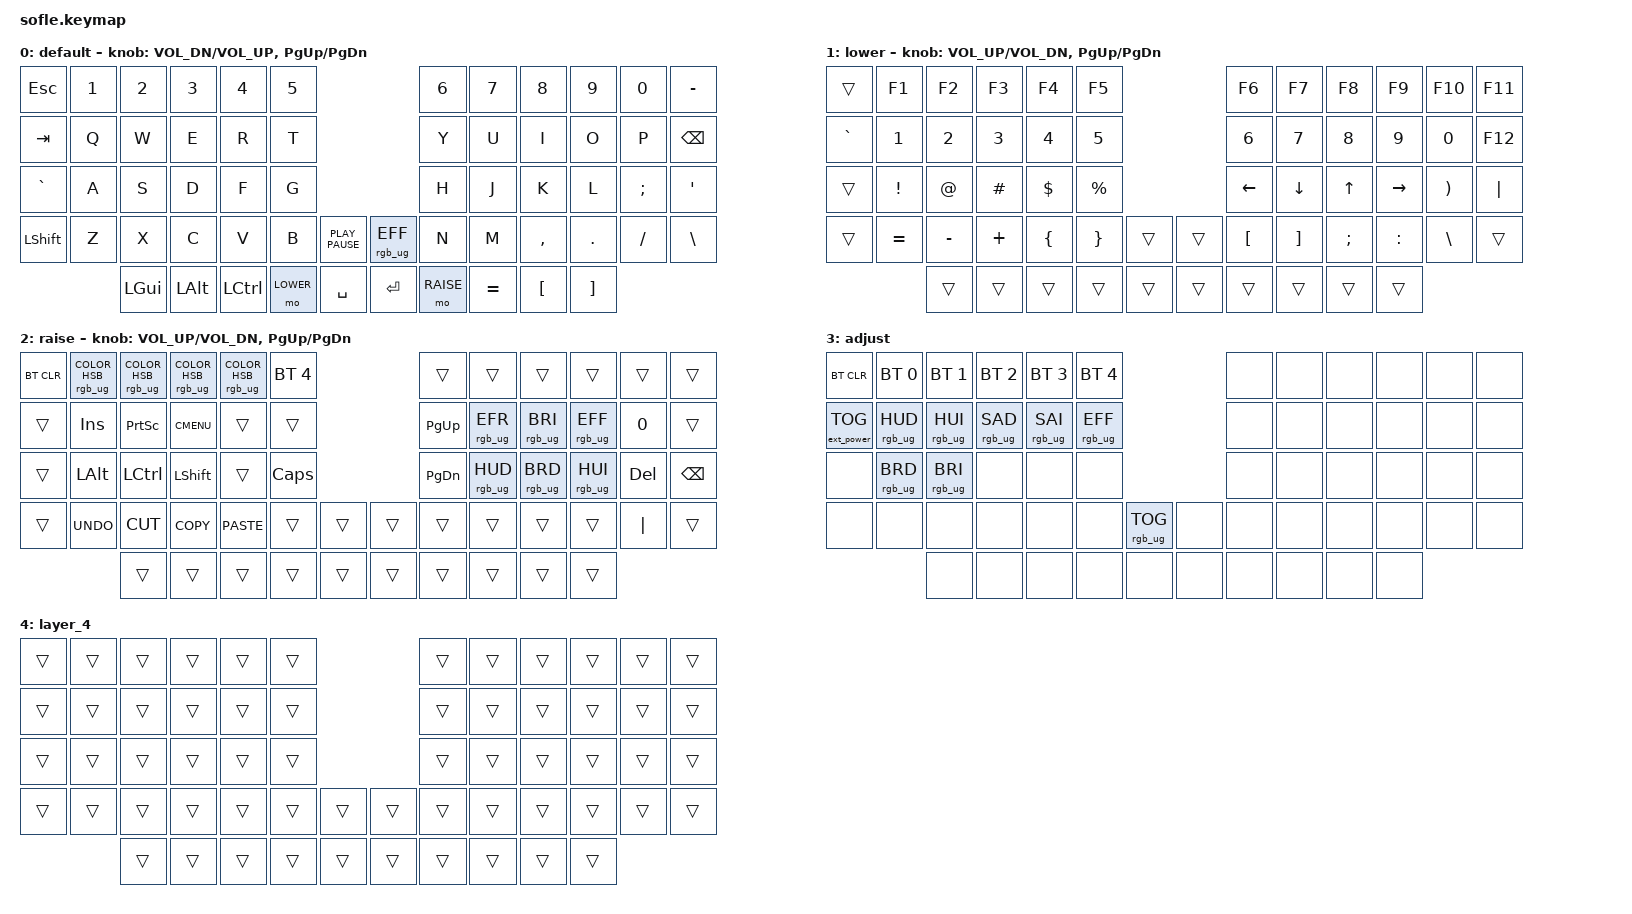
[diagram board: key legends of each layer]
/*
 * Copyright (c) 2020 The ZMK Contributors
 *
 * SPDX-License-Identifier: MIT
 */

#include <behaviors.dtsi>
#include <dt-bindings/zmk/bt.h>
#include <dt-bindings/zmk/ext_power.h>
#include <dt-bindings/zmk/keys.h>
#include <dt-bindings/zmk/rgb.h>

#define BASE 0
#define LOWER 1
#define RAISE 2
#define ADJUST 3

&led_strip { chain-length = <29>; };

/ {
    // Activate ADJUST layer by pressing raise and lower

    conditional_layers {
        compatible = "zmk,conditional-layers";

        adjust_layer {
            if-layers = <LOWER RAISE>;
            then-layer = <ADJUST>;
        };
    };

    keymap {
        compatible = "zmk,keymap";

        default_layer {
            display-name = "default";

            // ------------------------------------------------------------------------------------------------------------
            // |   `   |  1  |  2  |  3   |  4   |  5   |                   |  6   |  7    |  8    |  9   |   0   |       |
            // |  ESC  |  Q  |  W  |  E   |  R   |  T   |                   |  Y   |  U    |  I    |  O   |   P   | BKSPC |
            // |  TAB  |  A  |  S  |  D   |  F   |  G   |                   |  H   |  J    |  K    |  L   |   ;   |   '   |
            // | SHIFT |  Z  |  X  |  C   |  V   |  B   |  MUTE  |  |       |  N   |  M    |  ,    |  .   |   /   | SHIFT |
            //               | GUI | ALT  | CTRL | LOWER|  ENTER |  | SPACE | RAISE| CTRL  | ALT   | GUI  |

            bindings = <
&kp ESC    &kp N1  &kp N2    &kp N3    &kp N4     &kp N5                                          &kp N6     &kp N7     &kp N8            &kp N9             &kp N0    &kp MINUS
&kp TAB    &kp Q   &kp W     &kp E     &kp R      &kp T                                           &kp Y      &kp U      &kp I             &kp O              &kp P     &kp BSPC
&kp GRAVE  &kp A   &kp S     &kp D     &kp F      &kp G                                           &kp H      &kp J      &kp K             &kp L              &kp SEMI  &kp SQT
&kp LSHFT  &kp Z   &kp X     &kp C     &kp V      &kp B      &kp K_PLAY_PAUSE    &rgb_ug RGB_EFF  &kp N      &kp M      &kp COMMA         &kp DOT            &kp FSLH  &kp BSLH
                   &kp LGUI  &kp LALT  &kp LCTRL  &mo LOWER  &kp SPACE           &kp RET          &mo RAISE  &kp EQUAL  &kp LEFT_BRACKET  &kp RIGHT_BRACKET
            >;

            sensor-bindings =
                <&inc_dec_kp C_VOL_DN C_VOL_UP>,
                <&inc_dec_kp PG_UP PG_DN>;
        };

        lower_layer {
            display-name = "lower";

            // TODO: Some binds are waiting for shifted keycode support.
            // ------------------------------------------------------------------------------------------------------------
            // |       |  F1 |  F2 |  F3  |  F4  |  F5  |                   |  F6  |  F7   |  F8   |  F9  |  F10  |  F11  |
            // |   `   |  1  |  2  |  3   |  4   |  5   |                   |  6   |  7    |  8    |  9   |   0   |  F12  |
            // |       |  !  |  @  |  #   |  $   |  %   |                   |  ^   |  &    |  *    |  (   |   )   |   |   |
            // |       |  =  |  -  |  +   |  {   |  }   |        |  |       |  [   |  ]    |  ;    |  :   |   \   |       |
            //               |     |      |      |      |        |  |       |      |       |       |      |

            bindings = <
&trans     &kp F1     &kp F2     &kp F3    &kp F4    &kp F5                       &kp F6    &kp F7    &kp F8        &kp F9     &kp F10   &kp F11
&kp GRAVE  &kp N1     &kp N2     &kp N3    &kp N4    &kp N5                       &kp N6    &kp N7    &kp N8        &kp N9     &kp N0    &kp F12
&trans     &kp EXCL   &kp AT     &kp HASH  &kp DLLR  &kp PRCNT                    &kp LEFT  &kp DOWN  &kp UP_ARROW  &kp RIGHT  &kp RPAR  &kp PIPE
&trans     &kp EQUAL  &kp MINUS  &kp PLUS  &kp LBRC  &kp RBRC   &trans    &trans  &kp LBKT  &kp RBKT  &kp SEMI      &kp COLON  &kp BSLH  &trans
                      &trans     &trans    &trans    &trans     &trans    &trans  &trans    &trans    &trans        &trans
            >;

            sensor-bindings = <&inc_dec_kp C_VOL_UP C_VOL_DN &inc_dec_kp PG_UP PG_DN>;
        };

        raise_layer {
            display-name = "raise";

            // ------------------------------------------------------------------------------------------------------------
            // | BTCLR | BT1  | BT2  |  BT3  |  BT4  |  BT5 |                |      |      |       |      |       |       |
            // |       | INS  | PSCR | GUI   |       |      |                | PGUP |      |   ^   |      |       |       |
            // |       | ALT  | CTRL | SHIFT |       | CAPS |                | PGDN |   <- |   v   |  ->  |  DEL  | BKSPC |
            // |       | UNDO | CUT  | COPY  | PASTE |      |      |  |      |      |      |       |      |       |       |
            //                |      |       |       |      |      |  |      |      |      |       |      |

            bindings = <
&bt BT_CLR  &rgb_ug RGB_COLOR_HSB(360,100,50)  &rgb_ug RGB_COLOR_HSB(188,100,50)  &rgb_ug RGB_COLOR_HSB(231,100,50)  &rgb_ug RGB_COLOR_HSB(0,0,100)  &bt BT_SEL 4                    &trans     &trans           &trans           &trans           &trans    &trans
&trans      &kp INS                            &kp PSCRN                          &kp K_CMENU                        &trans                          &trans                          &kp PG_UP  &rgb_ug RGB_EFR  &rgb_ug RGB_BRI  &rgb_ug RGB_EFF  &kp N0    &trans
&trans      &kp LALT                           &kp LCTRL                          &kp LSHFT                          &trans                          &kp CLCK                        &kp PG_DN  &rgb_ug RGB_HUD  &rgb_ug RGB_BRD  &rgb_ug RGB_HUI  &kp DEL   &kp BSPC
&trans      &kp K_UNDO                         &kp K_CUT                          &kp K_COPY                         &kp K_PASTE                     &trans        &trans    &trans  &trans     &trans           &trans           &trans           &kp PIPE  &trans
                                               &trans                             &trans                             &trans                          &trans        &trans    &trans  &trans     &trans           &trans           &trans
            >;

            sensor-bindings = <&inc_dec_kp C_VOL_UP C_VOL_DN &inc_dec_kp PG_UP PG_DN>;
        };

        adjust_layer {
            // ----------------------------------------------------------------------------------------------------------------------------
            // | BTCLR  |  BT1    |  BT2    |   BT3   |   BT4   |   BT5   |                  |      |      |       |      |       |       |
            // | EXTPWR | RGB_HUD | RGB_HUI | RGB_SAD | RGB_SAI | RGB_EFF |                  |      |      |       |      |       |       |
            // |        | RGB_BRD | RGB_BRI |         |         |         |                  |      |      |       |      |       |       |
            // |        |         |         |         |         |         | RGB_TOG | |      |      |      |       |      |       |       |
            //                    |         |         |         |         |         | |      |      |      |       |      |

            display-name = "adjust";
            bindings = <
&bt BT_CLR         &bt BT_SEL 0     &bt BT_SEL 1     &bt BT_SEL 2     &bt BT_SEL 3     &bt BT_SEL 4                               &none  &none  &none  &none  &none  &none
&ext_power EP_TOG  &rgb_ug RGB_HUD  &rgb_ug RGB_HUI  &rgb_ug RGB_SAD  &rgb_ug RGB_SAI  &rgb_ug RGB_EFF                            &none  &none  &none  &none  &none  &none
&none              &rgb_ug RGB_BRD  &rgb_ug RGB_BRI  &none            &none            &none                                      &none  &none  &none  &none  &none  &none
&none              &none            &none            &none            &none            &none            &rgb_ug RGB_TOG    &none  &none  &none  &none  &none  &none  &none
                                    &none            &none            &none            &none            &none              &none  &none  &none  &none  &none
            >;
        };

        layer_4 {
            bindings = <
&trans  &trans  &trans  &trans  &trans  &trans                    &trans  &trans  &trans  &trans  &trans  &trans
&trans  &trans  &trans  &trans  &trans  &trans                    &trans  &trans  &trans  &trans  &trans  &trans
&trans  &trans  &trans  &trans  &trans  &trans                    &trans  &trans  &trans  &trans  &trans  &trans
&trans  &trans  &trans  &trans  &trans  &trans  &trans    &trans  &trans  &trans  &trans  &trans  &trans  &trans
                &trans  &trans  &trans  &trans  &trans    &trans  &trans  &trans  &trans  &trans
            >;
        };
    };
};
